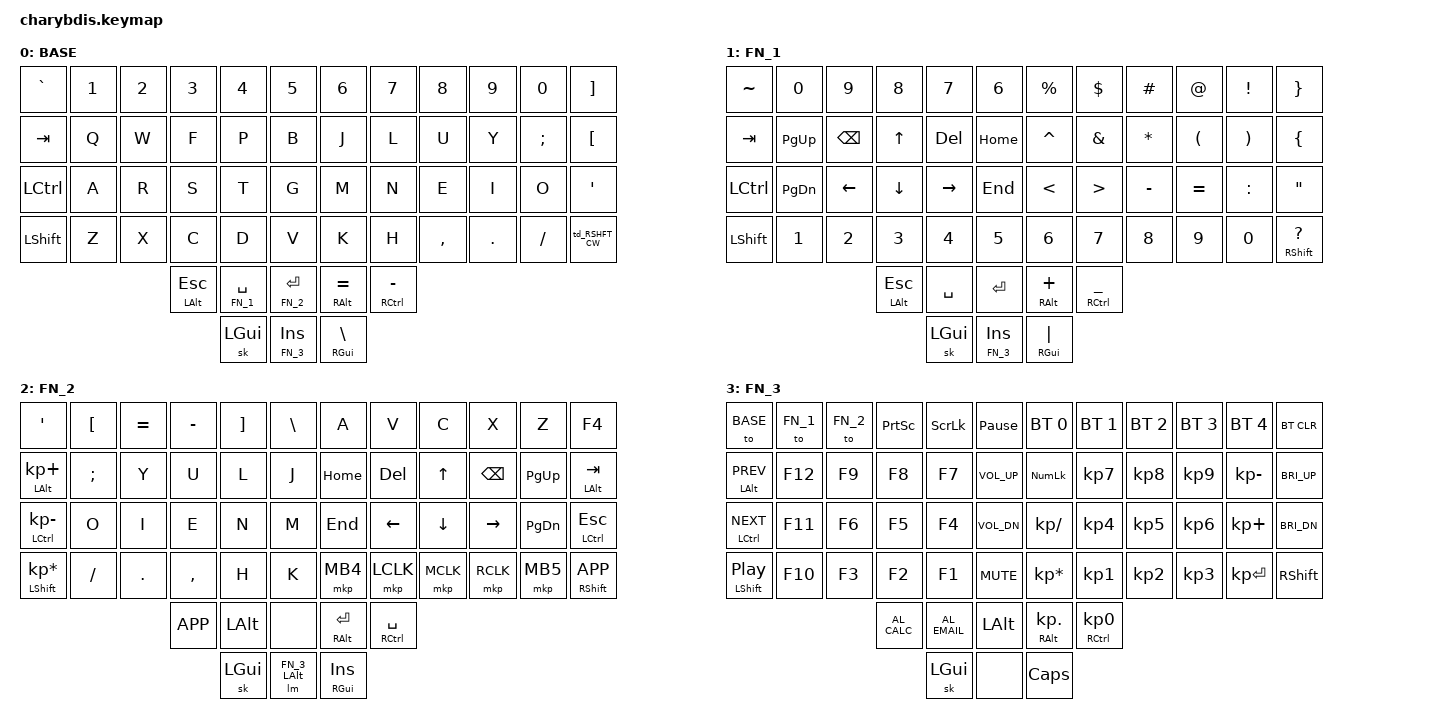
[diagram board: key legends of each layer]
#define ZMK_POINTING_DEFAULT_MOVE_VAL 1500  // default: 600
#define ZMK_POINTING_DEFAULT_SCRL_VAL 20    // default: 10

#define BASE 0
#define FN_1 1
#define FN_2 2
#define FN_3 3

#define KP_MIN KP_MINUS
#define KP_MUL KP_MULTIPLY

#define TAPPING_TERM_MS 150

#include <behaviors.dtsi>
#include <dt-bindings/zmk/bt.h>
#include <dt-bindings/zmk/keys.h>
#include <dt-bindings/zmk/pointing.h>
#include <dt-bindings/zmk/mouse.h>

&lt { tapping-term-ms = <TAPPING_TERM_MS>; flavor = "hold-preferred"; };
&mt { tapping-term-ms = <TAPPING_TERM_MS>; };
&sk { quick-release; lazy; };

/ {
  macros {
    lm: lm { compatible = "zmk,behavior-macro-two-param"; #binding-cells = <2>; wait-ms = <0>; tap-ms = <0>; bindings = <&macro_param_1to1>, <&macro_press &mo MACRO_PLACEHOLDER>, <&macro_param_2to1>, 
      <&macro_press &kp MACRO_PLACEHOLDER>, <&macro_pause_for_release>, <&macro_param_2to1>, <&macro_release &kp MACRO_PLACEHOLDER>, <&macro_param_1to1>, <&macro_release &mo MACRO_PLACEHOLDER>; };
  };
  behaviors { 
    mc: mc { compatible = "zmk,behavior-hold-tap"; #binding-cells = <2>; flavor = "hold-preferred"; tapping-term-ms = <TAPPING_TERM_MS>; bindings = <&kp>, <&caps_word>; };
    td_RSHFT_CW: td_sk_RSHFT_caps_word { compatible = "zmk,behavior-tap-dance"; #binding-cells = <0>; tapping-term-ms = <TAPPING_TERM_MS>; bindings = <&sk RSHFT>, <&caps_word>; };
  };
  keymap { compatible = "zmk,keymap";
    BASE { label = "BASE"; bindings = <
&kp GRAVE         &kp N1            &kp N2            &kp N3            &kp N4            &kp N5            &kp N6            &kp N7            &kp N8            &kp N9            &kp N0            &kp RBKT
&kp TAB           &kp Q             &kp W             &kp F             &kp P             &kp B             &kp J             &kp L             &kp U             &kp Y             &kp SEMI          &kp LBKT
&kp LCTRL         &kp A             &kp R             &kp S             &kp T             &kp G             &kp M             &kp N             &kp E             &kp I             &kp O             &kp SQT
&kp LSHFT         &kp Z             &kp X             &kp C             &kp D             &kp V             &kp K             &kp H             &kp COMMA         &kp DOT           &kp FSLH          &td_RSHFT_CW
                                                      &mt LALT ESC      &lt FN_1 SPACE    &lt FN_2 ENTER    &mt RALT EQUAL    &mt RCTRL MINUS
                                                                        &sk LGUI          &lt FN_3 INS      &mt RGUI BSLH >; };
    FN_1 { label = "FN_1"; bindings = <
&kp TILDE         &kp N0            &kp N9            &kp N8            &kp N7            &kp N6            &kp PRCNT         &kp DOLLAR        &kp POUND         &kp AT            &kp EXCL          &kp RBRC
&kp TAB           &kp PG_UP         &kp BSPC          &kp UP            &kp DEL           &kp HOME          &kp CARET         &kp AMPS          &kp STAR          &kp LPAR          &kp RPAR          &kp LBRC
&kp LCTRL         &kp PG_DN         &kp LEFT          &kp DOWN          &kp RIGHT         &kp END           &kp LT            &kp GT            &kp MINUS         &kp EQUAL         &kp COLON         &kp DQT
&kp LSHFT         &kp N1            &kp N2            &kp N3            &kp N4            &kp N5            &kp N6            &kp N7            &kp N8            &kp N9            &kp N0            &mt RSHFT QMARK
                                                      &mt LALT ESC      &kp SPACE         &kp ENTER         &mt RALT PLUS     &mt RCTRL UNDER
                                                                        &sk LGUI          &lt FN_3 INS      &mt RGUI PIPE >; };
    FN_2 { label = "FN_2"; bindings = <
&kp SQT           &kp LBKT          &kp EQUAL         &kp MINUS         &kp RBKT          &kp BSLH          &kp A             &kp V             &kp C             &kp X             &kp Z             &kp F4
&mt LALT KP_PLUS  &kp SEMI          &kp Y             &kp U             &kp L             &kp J             &kp HOME          &kp DEL           &kp UP            &kp BSPC          &kp PG_UP         &mt LALT TAB
&mt LCTRL KP_MIN  &kp O             &kp I             &kp E             &kp N             &kp M             &kp END           &kp LEFT          &kp DOWN          &kp RIGHT         &kp PG_DN         &mt LCTRL ESC
&mt LSHFT KP_MUL  &kp FSLH          &kp DOT           &kp COMMA         &kp H             &kp K             &mkp MB4          &mkp LCLK         &mkp MCLK         &mkp RCLK         &mkp MB5          &mt RSHFT K_APP
                                                      &kp K_APP         &kp LALT          &none             &mt RALT ENTER    &mt RCTRL SPACE
                                                                        &sk LGUI          &lm FN_3 LALT     &mt RGUI INS >; };
    FN_3 { label = "FN_3"; bindings = <
&to BASE          &to FN_1          &to FN_2          &kp PSCRN         &kp SLCK          &kp PAUSE_BREAK   &bt BT_SEL 0      &bt BT_SEL 1      &bt BT_SEL 2      &bt BT_SEL 3      &bt BT_SEL 4      &bt BT_CLR
&mt LALT C_PREV   &kp F12           &kp F9            &kp F8            &kp F7            &kp C_VOL_UP      &kp KP_NUM        &kp KP_N7         &kp KP_N8         &kp KP_N9         &kp KP_MINUS      &kp C_BRI_UP
&mt LCTRL C_NEXT  &kp F11           &kp F6            &kp F5            &kp F4            &kp C_VOL_DN      &kp KP_DIVIDE     &kp KP_N4         &kp KP_N5         &kp KP_N6         &kp KP_PLUS       &kp C_BRI_DN
&mt LSHFT C_PP    &kp F10           &kp F3            &kp F2            &kp F1            &kp C_MUTE        &kp KP_MULTIPLY   &kp KP_N1         &kp KP_N2         &kp KP_N3         &kp KP_ENTER      &kp RSHFT
                                                      &kp C_AL_CALC     &kp C_AL_EMAIL    &kp LALT          &mt RALT KP_DOT   &mt RCTRL KP_N0
                                                                        &sk LGUI          &none             &kp CAPS >; };
  };
 combos { compatible = "zmk,combos";
    cb_lm_2_LALT { timeout-ms = <50>; layers = <BASE>; key-positions = <49 50>; bindings = <&lm FN_2 LALT>; };
    cb_bootloader_left { timeout-ms = <50>; layers = <FN_3>; key-positions = <28 29 40 41>; bindings = <&bootloader>; };
    cb_bootloader_rght { timeout-ms = <50>; layers = <FN_3>; key-positions = <30 31 42 43>; bindings = <&bootloader>; };
 };
};
